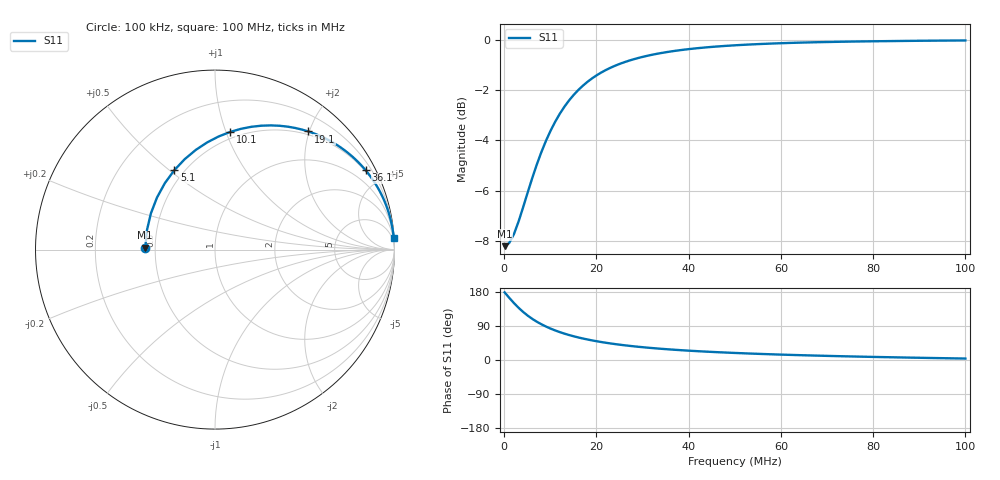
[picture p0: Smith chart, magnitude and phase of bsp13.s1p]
! AWR Design Environment (7670) Sun Feb 07 14:47:35 2016
! Document = 'messungen'
! nPorts: 1, nXvals: 101
# HZ Z MA R 50
!Freq MagZ11 AngZ11
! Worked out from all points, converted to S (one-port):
!   101 points, 100 kHz to 100 MHz, reference 50 ohm
!   lowest |S11| = -8.2 dB at 100 kHz (marker M1), VSWR 2.27, Z = 22 + j0.525 ohm
!   |S11| at or under -10 dB: nowhere
!   S11 on the Smith chart (normalised r, x): 100 kHz: 0.44, +0.01; 5.1 MHz: 0.44, +0.52; 10.1 MHz: 0.44, +1.03; 19.1 MHz: 0.45, +1.99; 36.1 MHz: 0.45, +4.00; 100 MHz: 1, +30
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100000  0.4405 1.4
1100000  0.4554 14.3
2100000  0.4911 25.9
3100000  0.5435 35.6
4100000  0.6087 43.4
5100000  0.6829 49.6
6100000  0.7637 54.5
7100000  0.8492 58.5
8100000  0.9383 61.8
9100000  1.03 64.5
1.01e7  1.124 66.7
1.11e7  1.22 68.7
1.31e7  1.417 71.7
1.61e7  1.721 75.0
1.91e7  2.036 77.3
2.21e7  2.359 79.1
2.51e7  2.694 80.4
2.71e7  2.923 81.2
3.01e7  3.277 82.1
3.31e7  3.645 82.9
3.61e7  4.029 83.5
3.81e7  4.294 83.9
4.41e7  5.146 84.9
5.01e7  6.099 85.7
6.31e7  8.681 86.8
7.51e7  12.12 87.5
8.81e7  18.24 87.9
1e8  29.64 88.2
